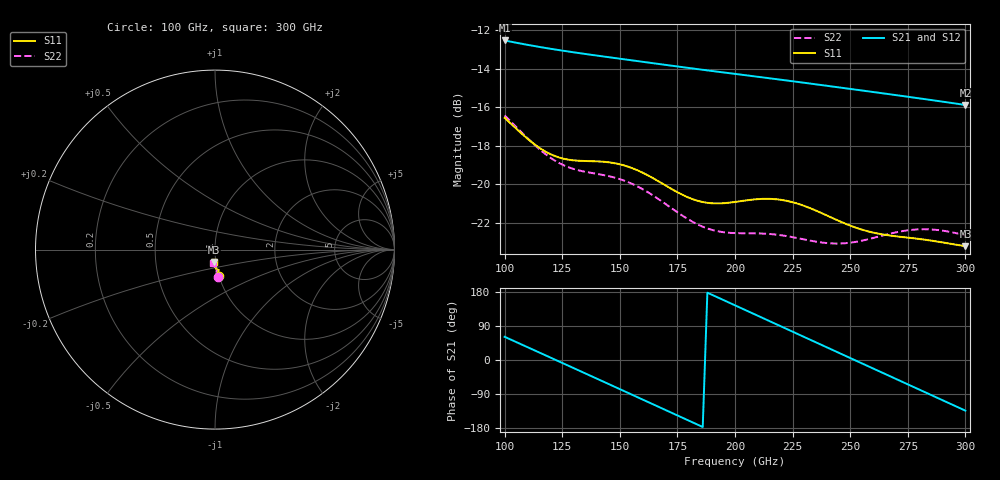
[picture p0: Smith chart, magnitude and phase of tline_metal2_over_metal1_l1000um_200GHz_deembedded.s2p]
! Created with skrf 2.0.1 (http://scikit-rf.org).
# GHz S DB R 50.0
!freq dBS11 angS11 dBS21 angS21 dBS12 angS12 dBS22 angS22
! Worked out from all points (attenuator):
!   101 points, 100 GHz to 300 GHz, reference 50 ohm
!   highest |S21| = -12.52 dB at 100 GHz (marker M1); lowest = -15.9 dB at 300 GHz (marker M2)
!   lowest |S11| = -23.2 dB at 300 GHz (marker M3), VSWR 1.15, Z = 48.9 - j6.75 ohm
!   |S11| at or under -10 dB: start of sweep to end of sweep
!   |S22| runs from -23.1 to -16.4 dB; largest |S21 - S12| = 2.6e-13
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100  -16.54 -80.8  -12.52 61.2  -12.52 61.2  -16.42 -83.3
110  -17.64 -82.1  -12.75 33.7  -12.75 33.7  -17.61 -85.9
118  -18.32 -81.2  -12.91 11.6  -12.91 11.6  -18.46 -85.9
126  -18.68 -79.9  -13.07 -10.4  -13.07 -10.4  -19.03 -84.9
134  -18.79 -79.5  -13.21 -32.5  -13.21 -32.5  -19.33 -84.3
144  -18.84 -81.3  -13.37 -60.2  -13.37 -60.2  -19.55 -85.5
152  -19.03 -83.9  -13.50 -82.4  -13.50 -82.4  -19.82 -87.8
160  -19.40 -86.6  -13.63 -104.6  -13.63 -104.6  -20.26 -90.3
168  -19.93 -88.3  -13.76 -126.8  -13.76 -126.8  -20.87 -92.0
176  -20.48 -88.6  -13.89 -149.1  -13.89 -149.1  -21.54 -92.4
184  -20.87 -87.5  -14.01 -171.3  -14.01 -171.3  -22.10 -91.2
192  -21.00 -86.2  -14.14 166.5  -14.14 166.5  -22.43 -89.3
200  -20.92 -85.9  -14.26 144.3  -14.26 144.3  -22.54 -87.9
210  -20.77 -87.4  -14.41 116.5  -14.41 116.5  -22.56 -87.6
218  -20.78 -89.9  -14.53 94.2  -14.53 94.2  -22.62 -88.1
226  -20.97 -92.7  -14.66 72.0  -14.66 72.0  -22.77 -88.7
234  -21.31 -95.0  -14.78 49.7  -14.78 49.7  -22.96 -88.8
250  -22.15 -96.5  -15.04 5.2  -15.04 5.2  -23.04 -87.4
258  -22.46 -96.1  -15.17 -17.0  -15.17 -17.0  -22.85 -87.2
268  -22.68 -95.5  -15.33 -44.8  -15.33 -44.8  -22.55 -88.6
284  -22.91 -95.5  -15.60 -89.2  -15.60 -89.2  -22.34 -93.8
300  -23.22 -95.5  -15.88 -133.6  -15.88 -133.6  -22.66 -99.0
